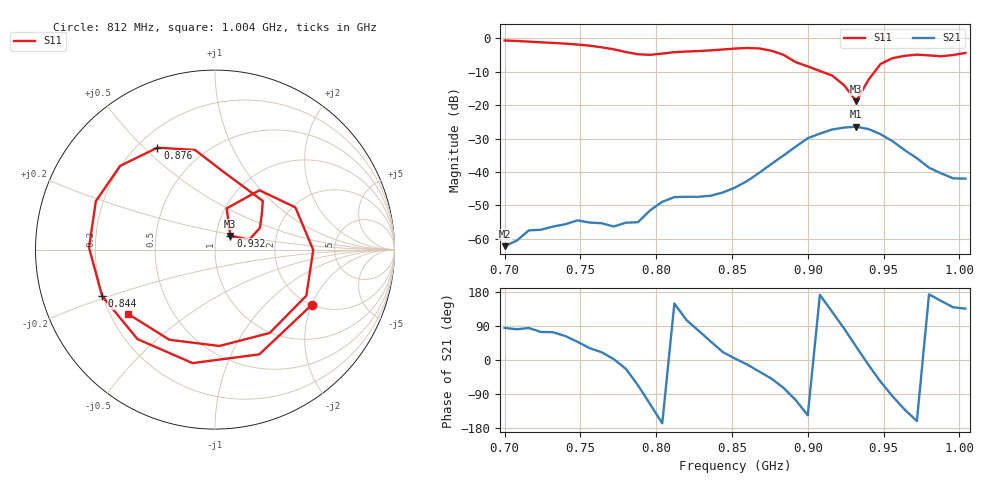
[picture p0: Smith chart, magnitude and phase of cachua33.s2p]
# Hz S RI R 50
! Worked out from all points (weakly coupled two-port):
!   39 points, 700 MHz to 1.004 GHz, reference 50 ohm
!   highest |S21| = -26.45 dB at 932 MHz (marker M1); lowest = -62.2 dB at 700 MHz (marker M2)
!   lowest |S11| = -18.8 dB at 932 MHz (marker M3), VSWR 1.26, Z = 58.6 + j9.03 ohm
!   |S11| at or under -10 dB: 909.3 MHz to 944.1 MHz (34.84 MHz wide, 3.76 % of centre)
!   S12 and S22 are empty: the file has one direction only
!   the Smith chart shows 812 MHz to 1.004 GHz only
!   S11 on the Smith chart (normalised r, x): 812 MHz: 1.99, -2.00; 844 MHz: 0.20, -0.19; 876 MHz: 0.28, +0.55; 932 MHz: 1.17, +0.18; 1.004 GHz: 0.27, -0.30
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7e8  0.7624 0.5297  7.33e-05 0.000775  0 0  0 0
7.24e8  0.8298 -0.2628  0.000379 0.00132  0 0  0 0
7.4e8  0.4428 -0.7047  0.000745 0.00148  0 0  0 0
7.56e8  -0.1997 -0.7495  0.0015 0.000917  0 0  0 0
7.72e8  -0.6581 -0.1875  0.00153 6.13e-05  0 0  0 0
7.8e8  -0.5774 0.2346  0.0016 -0.000692  0 0  0 0
7.88e8  -0.221 0.5325  0.0007 -0.00163  0 0  0 0
7.96e8  0.2637 0.5005  -0.0012 -0.00239  0 0  0 0
8.04e8  0.5735 0.1418  -0.0035 -0.000794  0 0  0 0
8.12e8  0.5382 -0.3085  -0.00362 0.00217  0 0  0 0
8.28e8  -0.1252 -0.6324  0.000933 0.00417  0 0  0 0
8.44e8  -0.6292 -0.2587  0.00462 0.00176  0 0  0 0
8.52e8  -0.7018 0.0109  0.00584 0.000385  0 0  0 0
8.76e8  -0.3207 0.5679  0.00865 -0.00997  0 0  0 0
9e8  0.2663 0.2709  -0.0266 -0.018  0 0  0 0
9.08e8  0.2605 0.1927  -0.0371 0.00528  0 0  0 0
9.32e8  0.0854 0.076  0.0391 0.0271  0 0  0 0
9.48e8  0.2473 0.3306  0.0201 -0.0309  0 0  0 0
9.56e8  0.4477 0.2353  -0.00306 -0.0287  0 0  0 0
9.72e8  0.5087 -0.257  -0.0152 -0.00522  0 0  0 0
9.8e8  0.3044 -0.4646  -0.0115 0.00136  0 0  0 0
1.004e9  -0.4874 -0.3564  -0.0057 0.00558  0 0  0 0
